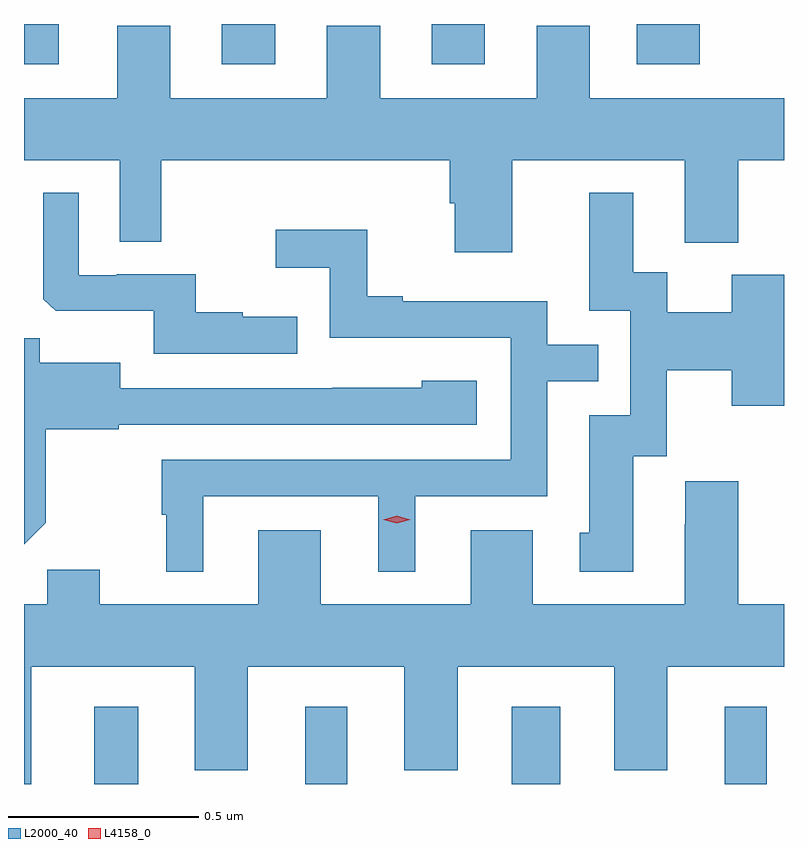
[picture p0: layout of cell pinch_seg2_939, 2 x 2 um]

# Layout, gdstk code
import gdstk
lib = gdstk.Library(unit=1e-6, precision=1e-09)
def R(c, l, rs):  # rectangles x0, y0, x1, y1
    for r in rs: c.add(gdstk.rectangle(r[:2], r[2:], *l))
def P(c, l, *ps):  # polygons
    for p in ps: c.add(gdstk.Polygon(p, *l))
L2000_40 = (2000, 40)
L4158_0 = (4158, 0)

pinch_seg2_939 = lib.new_cell('pinch_seg2_939')
R(pinch_seg2_939, L2000_40, [(458.705,641.999,458.821,642.202), (459.26,641.999,459.37,642.202), (459.803,641.999,459.931,642.202), (460.364,641.999,460.474,642.202), (458.52,643.893,458.611,643.999), (459.041,643.893,459.181,643.999), (459.593,643.893,459.733,643.999), (460.133,643.893,460.298,643.999)])
P(pinch_seg2_939, L2000_40, [(459.805,643.64),(460.259,643.64),(460.259,643.424),(460.399,643.424),(460.399,643.64),(460.52,643.64),(460.52,643.804),(460.009,643.804),(460.009,643.994),(459.869,643.994),(459.869,643.804),(459.457,643.804),(459.457,643.994),(459.317,643.994),(459.317,643.804),(458.905,643.804),(458.905,643.994),(458.766,643.994),(458.766,643.804),(458.52,643.804),(458.52,643.64),(458.772,643.64),(458.772,643.426),(458.881,643.426),(458.881,643.64),(459.641,643.64),(459.641,643.527),(459.653,643.527),(459.653,643.398),(459.805,643.398)],
  [(460.123,642.861),(460.212,642.861),(460.212,643.088),(460.382,643.088),(460.382,642.995),(460.52,642.995),(460.52,643.339),(460.382,643.339),(460.382,643.24),(460.213,643.24),(460.213,643.346),(460.123,643.346),(460.123,643.555),(460.007,643.555),(460.007,643.245),(460.116,643.245),(460.116,642.969),(460.007,642.969),(460.007,642.66),(459.983,642.66),(459.983,642.558),(460.123,642.558)],
  [(459.239,643.228),(459.095,643.228),(459.095,643.24),(458.972,643.24),(458.972,643.341),(458.764,643.341),(458.764,643.338),(458.664,643.338),(458.664,643.555),(458.571,643.555),(458.571,643.275),(458.603,643.244),(458.862,643.244),(458.862,643.131),(459.239,643.131)],
  [(458.992,642.756),(459.452,642.756),(459.452,642.557),(459.55,642.557),(459.55,642.756),(459.897,642.756),(459.897,643.059),(460.031,643.059),(460.031,643.155),(459.897,643.155),(459.897,643.269),(459.517,643.269),(459.517,643.282),(459.423,643.282),(459.423,643.457),(459.183,643.457),(459.183,643.358),(459.324,643.358),(459.324,643.173),(459.801,643.173),(459.801,642.852),(458.883,642.852),(458.883,642.708),(458.894,642.708),(458.894,642.557),(458.992,642.557)],
  [(458.577,642.687),(458.577,642.933),(458.769,642.933),(458.769,642.945),(459.712,642.945),(459.712,643.06),(459.567,643.06),(459.567,643.042),(459.331,643.042),(459.331,643.041),(458.773,643.041),(458.773,643.108),(458.562,643.108),(458.562,643.172),(458.52,643.172),(458.52,642.63)],
  [(458.539,642.308),(458.969,642.308),(458.969,642.035),(459.109,642.035),(459.109,642.308),(459.521,642.308),(459.521,642.035),(459.661,642.035),(459.661,642.308),(460.073,642.308),(460.073,642.035),(460.213,642.035),(460.213,642.308),(460.52,642.308),(460.52,642.472),(460.399,642.472),(460.399,642.796),(460.26,642.796),(460.26,642.683),(460.259,642.683),(460.259,642.472),(459.859,642.472),(459.859,642.667),(459.695,642.667),(459.695,642.472),(459.301,642.472),(459.301,642.667),(459.137,642.667),(459.137,642.472),(458.719,642.472),(458.719,642.563),(458.581,642.563),(458.581,642.472),(458.52,642.472),(458.52,641.999),(458.539,641.999)])
P(pinch_seg2_939, L4158_0, [(459.501,642.685),(459.465,642.695),(459.465,642.695),(459.465,642.695),(459.501,642.705),(459.537,642.695),(459.537,642.695),(459.537,642.695)])

lib.write_gds('pinch_seg2_939.gds')
